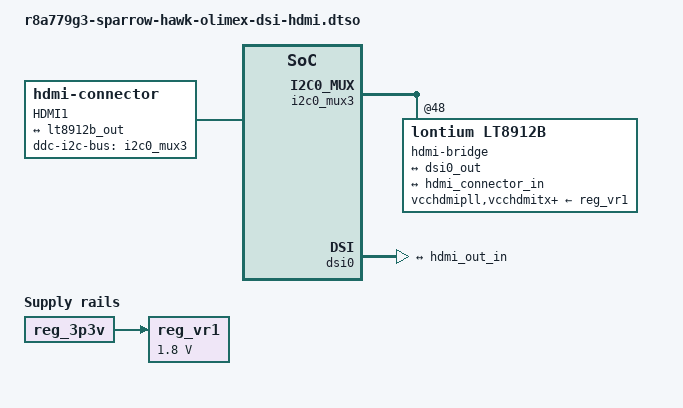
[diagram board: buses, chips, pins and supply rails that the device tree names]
// SPDX-License-Identifier: (GPL-2.0-only OR BSD-2-Clause)
/*
 * Device Tree Overlay for Olimex MIPI-HDMI adapter connected to J4:DSI
 * on R-Car V4H ES3.0 Sparrow Hawk board
 *
 * Copyright (C) 2026 Scott Murray <scott.murray@konsulko.com>
 */

/dts-v1/;
/plugin/;

&{/} {
	hdmi-connector {
		compatible = "hdmi-connector";
		label = "HDMI1";
		type = "a";
		ddc-i2c-bus = <&i2c0_mux3>;

		port {
			hdmi_connector_in: endpoint {
				remote-endpoint = <&lt8912b_out>;
			};
		};
	};

	reg_vr1: regulator-vr1 {
		compatible = "regulator-fixed";
		regulator-name = "VR1-1.8V";
		regulator-min-microvolt = <1800000>;
		regulator-max-microvolt = <1800000>;
		regulator-boot-on;
		regulator-always-on;
		vin-supply = <&reg_3p3v>;
	};
};

&i2c0_mux3 {
	#address-cells = <1>;
	#size-cells = <0>;

	hdmi-bridge@48 {
		compatible = "lontium,lt8912b";
		reg = <0x48>;
		vcchdmipll-supply = <&reg_vr1>;
		vcchdmitx-supply = <&reg_vr1>;
		vcclvdspll-supply = <&reg_vr1>;
		vcclvdstx-supply = <&reg_vr1>;
		vccmipirx-supply = <&reg_vr1>;
		vccsysclk-supply = <&reg_vr1>;
		vdd-supply = <&reg_vr1>;

		ports {
			#address-cells = <1>;
			#size-cells = <0>;

			port@0 {
				reg = <0>;

				hdmi_out_in: endpoint {
					data-lanes = <1 2>;
					remote-endpoint = <&dsi0_out>;
				};
			};

			port@1 {
				reg = <1>;

				lt8912b_out: endpoint {
					remote-endpoint = <&hdmi_connector_in>;
				};
			};
		};
	};
};

&dsi0 {
	status = "okay";

	ports {
		#address-cells = <1>;
		#size-cells = <0>;

		port@1 {
			reg = <1>;

			dsi0_out: endpoint {
				remote-endpoint = <&hdmi_out_in>;
				data-lanes = <1 2>;
			};
		};
	};
};
